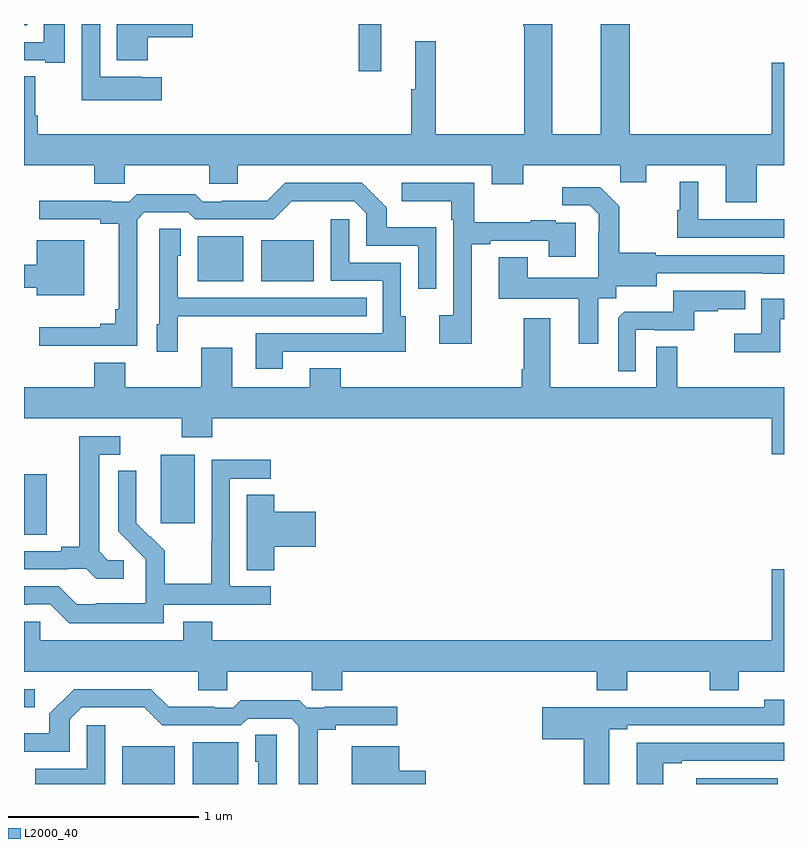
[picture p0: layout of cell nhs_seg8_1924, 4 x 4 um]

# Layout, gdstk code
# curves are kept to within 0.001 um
import gdstk
lib = gdstk.Library(unit=1e-6, precision=1e-09)
def R(c, l, rs):  # rectangles x0, y0, x1, y1
    for r in rs: c.add(gdstk.rectangle(r[:2], r[2:], *l))
def P(c, l, *ps):  # polygons
    for p in ps: c.add(gdstk.Polygon(p, *l))
L2000_40 = (2000, 40)

nhs_seg8_1924 = lib.new_cell('nhs_seg8_1924')
R(nhs_seg8_1924, L2000_40, [(233.516,1123.9,233.794,1124.098), (233.888,1123.9,234.127,1124.119), (236.538,1123.9,236.968,1123.93), (233,1124.303,233.056,1124.4), (233,1125.211,233.119,1125.531), (233.72,1125.273,233.899,1125.634), (233.915,1126.547,234.154,1126.783), (234.248,1126.547,234.526,1126.762), (234.763,1127.652,234.881,1127.9), (233,1127.894,233.017,1127.9)])
P(nhs_seg8_1924, L2000_40, [(236.857,1127.156),(237,1127.156),(237,1127.695),(236.936,1127.695),(236.936,1127.32),(236.189,1127.32),(236.189,1127.9),(236.036,1127.9),(236.036,1127.32),(235.78,1127.32),(235.78,1127.9),(235.628,1127.9),(235.628,1127.887),(235.633,1127.887),(235.633,1127.32),(235.168,1127.32),(235.168,1127.809),(235.058,1127.809),(235.058,1127.556),(235.039,1127.556),(235.039,1127.32),(233.072,1127.32),(233.072,1127.416),(233.059,1127.416),(233.059,1127.624),(233,1127.624),(233,1127.156),(233.369,1127.156),(233.369,1127.058),(233.529,1127.058),(233.529,1127.156),(233.974,1127.156),(233.974,1127.058),(234.124,1127.058),(234.124,1127.156),(235.463,1127.156),(235.463,1127.057),(235.627,1127.057),(235.627,1127.156),(236.137,1127.156),(236.137,1127.066),(236.275,1127.066),(236.275,1127.156),(236.693,1127.156),(236.693,1126.962),(236.857,1126.962)],
  [(233.215,1127.9),(233.105,1127.9),(233.105,1127.805),(233,1127.805),(233,1127.709),(233.111,1127.709),(233.111,1127.697),(233.215,1127.697)],
  [(233.651,1127.831),(233.887,1127.831),(233.887,1127.9),(233.489,1127.9),(233.489,1127.708),(233.651,1127.708)],
  [(233.725,1127.62),(233.616,1127.62),(233.616,1127.622),(233.4,1127.622),(233.4,1127.9),(233.304,1127.9),(233.304,1127.498),(233.725,1127.498)],
  [(237,1126.872),(236.548,1126.872),(236.548,1127.071),(236.45,1127.071),(236.45,1126.92),(236.439,1126.92),(236.439,1126.776),(237,1126.776)],
  [(235.357,1126.74),(235.453,1126.74),(235.453,1126.758),(235.763,1126.758),(235.763,1126.674),(235.903,1126.674),(235.903,1126.854),(235.799,1126.854),(235.799,1126.867),(235.667,1126.867),(235.667,1126.856),(235.369,1126.856),(235.369,1127.064),(234.987,1127.064),(234.987,1126.967),(235.248,1126.967),(235.248,1126.871),(235.26,1126.871),(235.26,1126.366),(235.185,1126.366),(235.185,1126.218),(235.357,1126.218)],
  [(233.595,1126.869),(233.634,1126.908),(233.865,1126.908),(233.901,1126.872),(234.315,1126.872),(234.41,1126.967),(234.738,1126.968),(234.801,1126.905),(234.801,1126.734),(235.074,1126.734),(235.074,1126.506),(235.17,1126.506),(235.17,1126.831),(234.909,1126.831),(234.909,1126.934),(234.778,1127.064),(234.375,1127.064),(234.281,1126.97),(234.04,1126.97),(234.04,1126.965),(233.94,1126.965),(233.901,1127.005),(233.593,1127.005),(233.553,1126.965),(233.459,1126.965),(233.459,1126.97),(233.079,1126.97),(233.079,1126.872),(233.402,1126.872),(233.402,1126.85),(233.498,1126.85),(233.498,1126.399),(233.479,1126.399),(233.479,1126.322),(233.402,1126.322),(233.402,1126.303),(233.079,1126.303),(233.079,1126.206),(233.595,1126.206)],
  [(236.023,1126.456),(236.118,1126.456),(236.118,1126.52),(236.329,1126.52),(236.329,1126.587),(237,1126.586),(237,1126.683),(236.325,1126.683),(236.325,1126.696),(236.133,1126.696),(236.133,1126.941),(236.033,1127.041),(235.833,1127.041),(235.833,1126.947),(235.977,1126.947),(236.024,1126.9),(236.024,1126.805),(236.022,1126.805),(236.022,1126.564),(235.651,1126.564),(235.651,1126.673),(235.499,1126.673),(235.499,1126.454),(235.919,1126.454),(235.919,1126.218),(236.023,1126.218)],
  [(234.361,1126.176),(234.791,1126.176),(234.791,1126.175),(235.009,1126.175),(235.009,1126.362),(234.984,1126.362),(234.984,1126.644),(234.711,1126.644),(234.711,1126.873),(234.615,1126.873),(234.615,1126.548),(234.888,1126.548),(234.888,1126.272),(234.221,1126.272),(234.221,1126.086),(234.361,1126.086)],
  [(233.808,1126.361),(234.125,1126.361),(234.125,1126.362),(234.803,1126.362),(234.803,1126.458),(233.808,1126.458),(233.808,1126.68),(233.824,1126.68),(233.824,1126.823),(233.712,1126.823),(233.712,1126.32),(233.699,1126.32),(233.699,1126.176),(233.808,1126.176)],
  [(233.317,1126.762),(233.066,1126.762),(233.066,1126.633),(233,1126.633),(233,1126.511),(233.066,1126.511),(233.066,1126.472),(233.317,1126.472)],
  [(236.22,1126.29),(236.32,1126.29),(236.32,1126.287),(236.528,1126.287),(236.528,1126.389),(236.651,1126.389),(236.651,1126.4),(236.795,1126.4),(236.795,1126.497),(236.418,1126.497),(236.418,1126.385),(236.159,1126.385),(236.127,1126.353),(236.127,1126.073),(236.22,1126.073)],
  [(236.979,1126.347),(237,1126.347),(237,1126.455),(236.88,1126.455),(236.88,1126.27),(236.739,1126.27),(236.739,1126.172),(236.979,1126.172)],
  [(237,1125.988),(236.437,1125.988),(236.437,1126.202),(236.328,1126.202),(236.328,1125.988),(235.771,1125.988),(235.771,1126.351),(235.631,1126.351),(235.631,1126.084),(235.619,1126.084),(235.619,1125.988),(234.667,1125.988),(234.667,1126.087),(234.503,1126.087),(234.503,1125.988),(234.097,1125.988),(234.097,1126.195),(233.933,1126.195),(233.933,1125.988),(233.533,1125.988),(233.533,1126.117),(233.369,1126.117),(233.369,1125.988),(233,1125.988),(233,1125.824),(233.83,1125.824),(233.83,1125.725),(233.99,1125.725),(233.99,1125.824),(236.936,1125.824),(236.936,1125.636),(237,1125.636)],
  [(233.524,1125.078),(233.442,1125.078),(233.395,1125.125),(233.395,1125.633),(233.506,1125.633),(233.506,1125.729),(233.291,1125.729),(233.291,1125.149),(233.195,1125.149),(233.195,1125.126),(233,1125.126),(233,1125.03),(233.234,1125.03),(233.234,1125.033),(233.328,1125.033),(233.38,1124.981),(233.524,1124.981)],
  [(233.736,1124.844),(234.298,1124.844),(234.298,1124.94),(234.084,1124.94),(234.084,1125.507),(234.298,1125.507),(234.298,1125.606),(233.988,1125.606),(233.988,1125.176),(233.986,1125.176),(233.986,1124.953),(233.741,1124.953),(233.741,1125.127),(233.664,1125.204),(233.661,1125.201),(233.591,1125.272),(233.592,1125.548),(233.496,1125.548),(233.496,1125.23),(233.642,1125.082),(233.642,1124.985),(233.64,1124.985),(233.64,1124.851),(233.377,1124.851),(233.377,1124.847),(233.277,1124.847),(233.184,1124.94),(233,1124.94),(233,1124.844),(233.024,1124.844),(233.024,1124.847),(233.139,1124.847),(233.239,1124.747),(233.736,1124.747)],
  [(234.317,1125.149),(234.535,1125.149),(234.535,1125.332),(234.317,1125.332),(234.317,1125.422),(234.173,1125.422),(234.173,1125.025),(234.317,1125.025)],
  [(236.175,1124.492),(236.608,1124.492),(236.608,1124.393),(236.763,1124.393),(236.763,1124.492),(237,1124.492),(237,1125.031),(236.936,1125.031),(236.936,1124.656),(233.99,1124.656),(233.99,1124.755),(233.837,1124.755),(233.837,1124.656),(233.085,1124.656),(233.085,1124.754),(233,1124.754),(233,1124.492),(233.918,1124.492),(233.918,1124.394),(234.069,1124.394),(234.069,1124.492),(234.514,1124.492),(234.514,1124.394),(234.674,1124.394),(234.674,1124.492),(236.015,1124.492),(236.015,1124.393),(236.175,1124.393)],
  [(234.545,1124.186),(234.64,1124.186),(234.64,1124.208),(234.964,1124.208),(234.964,1124.306),(234.583,1124.306),(234.583,1124.301),(234.489,1124.301),(234.449,1124.341),(234.142,1124.341),(234.102,1124.301),(234.002,1124.301),(234.002,1124.306),(233.762,1124.306),(233.667,1124.4),(233.264,1124.4),(233.134,1124.27),(233.134,1124.167),(233,1124.167),(233,1124.07),(233.241,1124.07),(233.241,1124.241),(233.304,1124.304),(233.633,1124.303),(233.727,1124.208),(234.141,1124.208),(234.177,1124.244),(234.408,1124.244),(234.447,1124.205),(234.447,1123.9),(234.545,1123.9)],
  [(236.08,1124.188),(236.176,1124.188),(236.176,1124.208),(237,1124.208),(237,1124.344),(236.897,1124.344),(236.897,1124.304),(235.962,1124.304),(235.962,1124.305),(235.728,1124.305),(235.728,1124.135),(235.946,1124.135),(235.946,1123.9),(236.08,1123.9)],
  [(233.427,1124.209),(233.331,1124.209),(233.331,1123.98),(233.058,1123.98),(233.058,1123.9),(233.427,1123.9)],
  [(234.33,1124.159),(234.218,1124.159),(234.218,1124.016),(234.234,1124.016),(234.234,1123.9),(234.33,1123.9)],
  [(236.365,1124.01),(236.461,1124.01),(236.461,1124.022),(237,1124.022),(237,1124.118),(236.225,1124.118),(236.225,1123.9),(236.365,1123.9)],
  [(235.114,1123.969),(234.976,1123.969),(234.976,1124.098),(234.725,1124.098),(234.725,1123.9),(235.114,1123.9)])

lib.write_gds('nhs_seg8_1924.gds')
